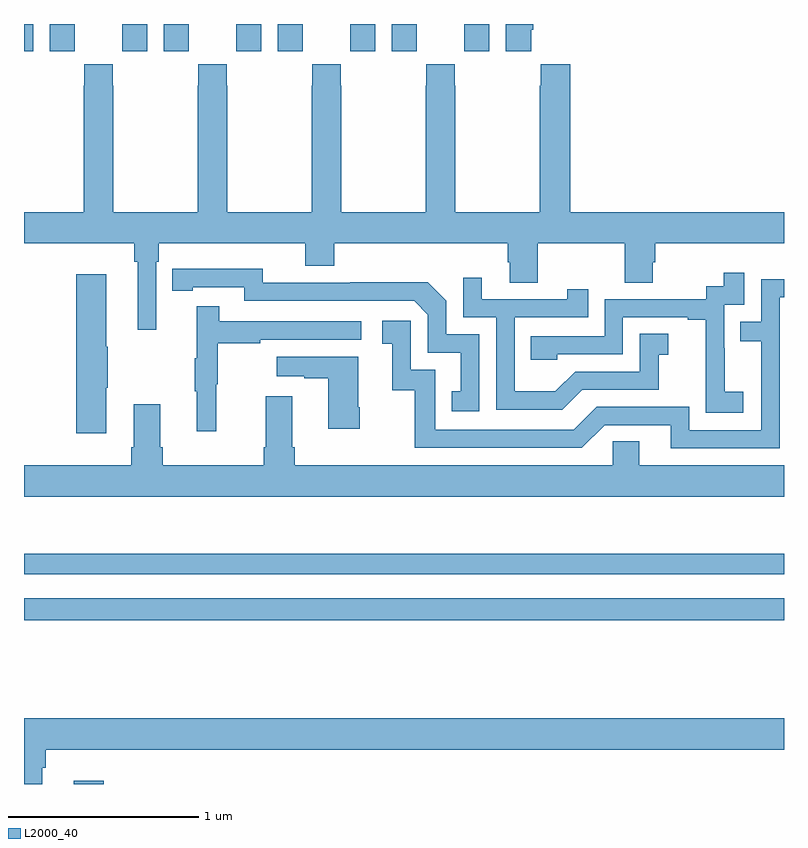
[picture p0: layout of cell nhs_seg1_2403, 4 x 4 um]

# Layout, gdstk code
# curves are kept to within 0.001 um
import gdstk
lib = gdstk.Library(unit=1e-6, precision=1e-09)
def R(c, l, rs):  # rectangles x0, y0, x1, y1
    for r in rs: c.add(gdstk.rectangle(r[:2], r[2:], *l))
def P(c, l, *ps):  # polygons
    for p in ps: c.add(gdstk.Polygon(p, *l))
L2000_40 = (2000, 40)

nhs_seg1_2403 = lib.new_cell('nhs_seg1_2403')
R(nhs_seg1_2403, L2000_40, [(241.262,570.199,241.421,570.217), (241,571.06,245,571.176), (241,571.302,245,571.411), (241,574.056,241.048,574.199)])
P(nhs_seg1_2403, L2000_40, [(241.266,574.168),(241.267,574.168),(241.267,574.199),(241.136,574.199),(241.136,574.056),(241.266,574.056)],
  [(241.648,574.199),(241.517,574.199),(241.517,574.168),(241.518,574.168),(241.518,574.056),(241.648,574.056)],
  [(241.866,574.168),(241.867,574.168),(241.867,574.199),(241.736,574.199),(241.736,574.056),(241.866,574.056)],
  [(242.248,574.199),(242.117,574.199),(242.117,574.168),(242.118,574.168),(242.118,574.056),(242.248,574.056)],
  [(242.466,574.168),(242.467,574.168),(242.467,574.199),(242.336,574.199),(242.336,574.056),(242.466,574.056)],
  [(242.848,574.199),(242.717,574.199),(242.717,574.168),(242.718,574.168),(242.718,574.056),(242.848,574.056)],
  [(243.066,574.168),(243.067,574.168),(243.067,574.199),(242.936,574.199),(242.936,574.056),(243.066,574.056)],
  [(243.448,574.199),(243.317,574.199),(243.317,574.168),(243.318,574.168),(243.318,574.056),(243.448,574.056)],
  [(243.67,574.168),(243.68,574.168),(243.68,574.199),(243.536,574.199),(243.536,574.056),(243.67,574.056)],
  [(241.695,572.948),(241.709,572.948),(241.709,573.044),(242.48,573.044),(242.48,572.927),(242.633,572.927),(242.633,573.044),(243.545,573.044),(243.545,572.946),(243.557,572.946),(243.557,572.836),(243.705,572.836),(243.705,573.044),(244.162,573.044),(244.162,572.836),(244.309,572.836),(244.309,572.946),(244.322,572.946),(244.322,573.044),(245,573.044),(245,573.208),(243.875,573.208),(243.875,573.988),(243.721,573.988),(243.721,573.875),(243.715,573.875),(243.715,573.208),(243.27,573.208),(243.27,573.875),(243.267,573.875),(243.267,573.988),(243.117,573.988),(243.117,573.875),(243.115,573.875),(243.115,573.208),(242.67,573.208),(242.67,573.875),(242.667,573.875),(242.667,573.988),(242.517,573.988),(242.517,573.875),(242.515,573.875),(242.515,573.208),(242.07,573.208),(242.07,573.875),(242.067,573.875),(242.067,573.988),(241.917,573.988),(241.917,573.875),(241.915,573.875),(241.915,573.208),(241.47,573.208),(241.47,573.875),(241.467,573.875),(241.467,573.988),(241.317,573.988),(241.317,573.875),(241.315,573.875),(241.315,573.208),(241,573.208),(241,573.044),(241.579,573.044),(241.579,572.948),(241.598,572.948),(241.598,572.589),(241.695,572.589)],
  [(243.396,572.565),(243.222,572.565),(243.222,572.742),(243.124,572.84),(242.716,572.84),(242.716,572.838),(242.256,572.838),(242.256,572.911),(241.78,572.91),(241.78,572.794),(241.888,572.794),(241.888,572.814),(242.16,572.814),(242.16,572.742),(243.054,572.742),(243.126,572.67),(243.126,572.469),(243.299,572.469),(243.299,572.265),(243.25,572.265),(243.25,572.16),(243.396,572.16)],
  [(244.786,572.263),(244.688,572.263),(244.688,572.492),(244.686,572.492),(244.686,572.721),(244.791,572.721),(244.791,572.89),(244.683,572.89),(244.683,572.82),(244.59,572.82),(244.59,572.751),(244.056,572.751),(244.056,572.556),(243.667,572.556),(243.667,572.433),(243.807,572.433),(243.807,572.46),(244.152,572.46),(244.152,572.655),(244.493,572.655),(244.493,572.643),(244.589,572.643),(244.589,572.359),(244.588,572.359),(244.588,572.153),(244.786,572.153)],
  [(241.432,572.284),(241.44,572.284),(241.44,572.501),(241.432,572.501),(241.432,572.881),(241.274,572.881),(241.274,572.046),(241.432,572.046)],
  [(243.937,572.274),(244.341,572.274),(244.341,572.459),(244.39,572.459),(244.39,572.569),(244.242,572.569),(244.242,572.37),(243.9,572.37),(243.796,572.266),(243.582,572.266),(243.582,572.655),(243.971,572.655),(243.971,572.803),(243.86,572.803),(243.86,572.751),(243.409,572.751),(243.409,572.863),(243.312,572.863),(243.312,572.655),(243.486,572.655),(243.486,572.169),(243.832,572.169)],
  [(244.977,572.76),(245,572.76),(245,572.856),(244.881,572.856),(244.881,572.631),(244.771,572.631),(244.771,572.53),(244.881,572.53),(244.881,572.061),(244.5,572.061),(244.5,572.184),(244.014,572.184),(243.894,572.064),(243.165,572.064),(243.165,572.379),(243.036,572.379),(243.036,572.638),(242.886,572.638),(242.886,572.517),(242.939,572.517),(242.939,572.271),(243.057,572.271),(243.057,571.968),(243.936,571.968),(244.056,572.088),(244.403,572.088),(244.403,571.965),(244.977,571.965)],
  [(242.012,572.304),(242.02,572.304),(242.02,572.518),(242.243,572.518),(242.243,572.538),(242.776,572.538),(242.776,572.634),(242.027,572.634),(242.027,572.713),(241.91,572.713),(241.91,572.441),(241.899,572.441),(241.899,572.267),(241.91,572.267),(241.91,572.055),(242.012,572.055)],
  [(242.766,572.182),(242.758,572.182),(242.758,572.449),(242.331,572.449),(242.331,572.345),(242.474,572.345),(242.474,572.335),(242.6,572.335),(242.6,572.07),(242.766,572.07)],
  [(245,571.876),(244.237,571.876),(244.237,572.003),(244.098,572.003),(244.098,571.876),(242.426,571.876),(242.426,571.972),(242.413,571.972),(242.413,572.239),(242.273,572.239),(242.273,571.972),(242.261,571.972),(242.261,571.876),(241.73,571.876),(241.73,571.972),(241.717,571.972),(241.717,572.197),(241.577,572.197),(241.577,571.972),(241.565,571.972),(241.565,571.876),(241,571.876),(241,571.712),(245,571.712)],
  [(241.096,570.284),(241.115,570.284),(241.115,570.38),(245,570.38),(245,570.544),(241,570.544),(241,570.199),(241.096,570.199)])

lib.write_gds('nhs_seg1_2403.gds')
